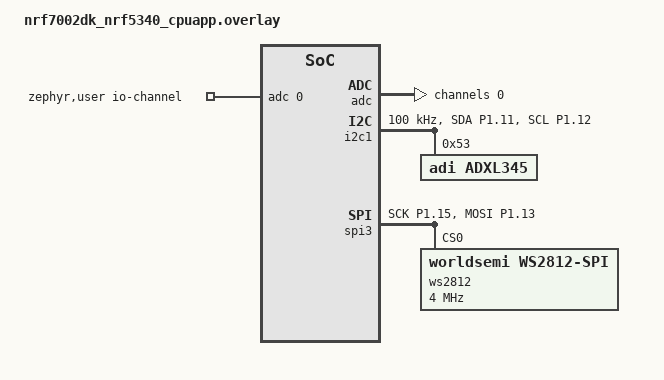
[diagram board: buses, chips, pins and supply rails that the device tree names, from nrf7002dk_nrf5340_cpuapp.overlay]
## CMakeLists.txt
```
cmake_minimum_required(VERSION 3.20.0)
list(APPEND ZEPHYR_EXTRA_MODULES
    ${CMAKE_CURRENT_SOURCE_DIR}/modules/edge-impulse-sdk-zephyr
    ${CMAKE_CURRENT_SOURCE_DIR}/edge_impulse
)
find_package(Zephyr REQUIRED HINTS $ENV{ZEPHYR_BASE})

project(test)

target_sources(app PRIVATE
	src/main.c
	src/led.c
	src/led_strip.c
	src/ble_led.c
	src/battery.c
	src/motion.c
	src/activity_indicator.c
	src/telemetry.c
	src/wifi_sta.c
	src/http_post.c
	src/ei_wrapper.cpp
)

zephyr_include_directories(src)

# Certyfikaty CA (bundle: Google Trust Services Root R4 + ISRG Root X1) —
# zagniezdzone do firmware jako tablica bajtow, rejestrowane w tls_credential
# przed pierwszym POST-em HTTPS.
generate_inc_file_for_target(app
    src/certs/ca_bundle.pem
    ${ZEPHYR_BINARY_DIR}/include/generated/ca_bundle.pem.inc)

# Edge Impulse SDK: kod trzeciej strony, nie chcemy żeby jego ostrzeżenia
# (double-promotion, maybe-uninitialized itd.) wywalały nasz build.
if(TARGET edge-impulse-sdk)
    target_compile_options(edge-impulse-sdk PRIVATE -w)
endif()
```

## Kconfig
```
#
# App Kconfig
#

source "Kconfig.zephyr"

menu "App settings"

config APP_WIFI_SSID
	string "WiFi SSID"
	default "SLUMSY"

config APP_WIFI_PSK
	string "WiFi password (WPA2-PSK)"
	default "ujnakolana"

config APP_SERVER_HOST
	string "HTTPS server hostname (or IPv4)"
	default "virgin-classifieds-wheel-hey.trycloudflare.com"
	help
	  Hostname (FQDN) or IPv4 address of the Mjolnir ingest server.
	  When a hostname is used, mbedtls SNI + cert validation uses it.

config APP_SERVER_PORT
	int "HTTPS server port"
	default 443

config APP_SERVER_URL_PATH
	string "Ingest URL path"
	default "/api/mjolnir/ingest"

config APP_MJOLNIR_API_KEY
	string "Factory-burned Mjolnir API key"
	default "mjlnr_b042769922b73b6e1f6674154a3d340de336b1e229e6075c"
	help
	  Sent as X-Mjolnir-Key header. Identifies the specific hammer row
	  on the server; user pairs by serial, never by key.

config APP_DEVICE_ID
	string "Device chip id (echoed in request body)"
	default "nrf7002dk"

config APP_POST_INTERVAL_S
	int "POST interval (seconds)"
	default 5

config APP_BLE_TARGET_MAC
	string "BLE target peripheral MAC (xx:xx:xx:xx:xx:xx)"
	default "c7:f1:ec:f8:d0:b6"
	help
	  Adres MAC peryferalu BLE z ktorym ma sie laczyc nasza centrala.
	  Pusty string = nie probuj sie laczyc (BLE wylaczone w runtime).
	  Format: AA:BB:CC:DD:EE:FF (case-insensitive).

config APP_BLE_TARGET_MAC_TYPE
	string "BLE target address type (public|random)"
	default "random"
	help
	  Wiekszosc consumer-grade urzadzen BLE uzywa adresow random.

endmenu
```

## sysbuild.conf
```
#
# Sysbuild: nRF7002 WiFi firmware (full) + BLE controller on netcore (hci_ipc)
#

SB_CONFIG_WIFI_NRF70=y

# nRF5340 ma osobny netcore — buduj na nim controller BLE (hci_ipc),
# żeby cpuapp mógł rozmawiać po IPC z hostem BT.
SB_CONFIG_NETCORE_HCI_IPC=y
```

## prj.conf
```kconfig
#
# WiFi STA + HTTP client
#

# WiFi
CONFIG_WIFI=y
CONFIG_WIFI_NRF70=y
CONFIG_WIFI_NM_WPA_SUPPLICANT=y
CONFIG_NET_L2_WIFI_MGMT=y

# Networking
CONFIG_NETWORKING=y
CONFIG_NET_L2_ETHERNET=y
CONFIG_NET_IPV4=y
CONFIG_NET_TCP=y
CONFIG_NET_UDP=y
CONFIG_NET_DHCPV4=y
CONFIG_NET_SOCKETS=y
CONFIG_NET_SOCKETS_SOCKOPT_TLS=y
CONFIG_DNS_RESOLVER=y
CONFIG_NET_SOCKETS_DNS_TIMEOUT=10000

# TLS (Mjolnir Ingest API pod HTTPS)
CONFIG_MBEDTLS=y
CONFIG_MBEDTLS_BUILTIN=y
CONFIG_MBEDTLS_ENABLE_HEAP=y
CONFIG_MBEDTLS_HEAP_SIZE=90000
CONFIG_MBEDTLS_SSL_MAX_CONTENT_LEN=16384
CONFIG_MBEDTLS_TLS_VERSION_1_2=y
CONFIG_MBEDTLS_KEY_EXCHANGE_ALL_ENABLED=y
CONFIG_MBEDTLS_CIPHER_ALL_ENABLED=y
CONFIG_MBEDTLS_MAC_ALL_ENABLED=y
CONFIG_MBEDTLS_ECP_ALL_ENABLED=y
CONFIG_MBEDTLS_PEM_CERTIFICATE_FORMAT=y
CONFIG_MBEDTLS_X509_LIBRARY=y
CONFIG_TLS_CREDENTIALS=y
CONFIG_TLS_MAX_CREDENTIALS_NUMBER=4
CONFIG_TLS_CREDENTIAL_FILENAMES=n

# HTTP client
CONFIG_HTTP_CLIENT=y
CONFIG_HTTP_PARSER=y
CONFIG_HTTP_PARSER_URL=y

# Net buffers / heaps (from NCS sta sample)
CONFIG_NET_PKT_RX_COUNT=16
CONFIG_NET_PKT_TX_COUNT=16
CONFIG_NRF70_RX_NUM_BUFS=16
CONFIG_NET_BUF_RX_COUNT=16
CONFIG_NET_BUF_TX_COUNT=32
CONFIG_HEAP_MEM_POOL_SIZE=65536
CONFIG_HEAP_MEM_POOL_IGNORE_MIN=y
CONFIG_NRF_WIFI_CTRL_HEAP_SIZE=20000
CONFIG_NRF_WIFI_DATA_HEAP_SIZE=40000
CONFIG_NRF_WIFI_DISPLAY_SCAN_BSS_LIMIT=160
CONFIG_NET_TC_TX_COUNT=1

CONFIG_NET_IF_UNICAST_IPV4_ADDR_COUNT=1
CONFIG_NET_MAX_CONTEXTS=5
CONFIG_NET_CONTEXT_SYNC_RECV=y
CONFIG_NET_SOCKETS_POLL_MAX=10

CONFIG_NET_CONFIG_SETTINGS=y
CONFIG_NET_CONFIG_INIT_TIMEOUT=0

# Stacks
CONFIG_MAIN_STACK_SIZE=8192
CONFIG_NET_TX_STACK_SIZE=4096
CONFIG_NET_RX_STACK_SIZE=4096
CONFIG_INIT_STACKS=y

CONFIG_NET_MGMT_EVENT_QUEUE_TIMEOUT=5000

# GPIO (LED blink)
CONFIG_GPIO=y

# ADC (VDD measurement)
CONFIG_ADC=y

# I2C + ADXL345
CONFIG_I2C=y
CONFIG_SENSOR=y
CONFIG_ADXL345=y

# SPI + WS2812 LED strip
CONFIG_SPI=y
CONFIG_LED_STRIP=y
CONFIG_WS2812_STRIP_SPI=y

# Bluetooth (central: scan, connect to APP_BLE_TARGET_MAC, write 6B on activity change)
CONFIG_BT=y
CONFIG_BT_CENTRAL=y
CONFIG_BT_OBSERVER=y
CONFIG_BT_GATT_CLIENT=y
CONFIG_BT_DEVICE_NAME="HackLED"
CONFIG_BT_MAX_CONN=1

# Entropy (WPA supplicant + BLE need RNG)
CONFIG_ENTROPY_GENERATOR=y

# Server (Mjolnir Ingest API – HTTPS)
CONFIG_APP_SERVER_HOST="virgin-classifieds-wheel-hey.trycloudflare.com"
CONFIG_APP_SERVER_PORT=443
CONFIG_APP_SERVER_URL_PATH="/api/mjolnir/ingest"
CONFIG_APP_DEVICE_ID="nrf7002dk"
CONFIG_APP_MJOLNIR_API_KEY="mjlnr_b042769922b73b6e1f6674154a3d340de336b1e229e6075c"

# Logging
CONFIG_LOG=y
CONFIG_LOG_BUFFER_SIZE=2048
CONFIG_PRINTK=y
CONFIG_POSIX_TIMERS=y

# Debug
CONFIG_ASSERT=y
CONFIG_STACK_SENTINEL=y

CONFIG_CPP=y
CONFIG_STD_CPP17=y
CONFIG_REQUIRES_FULL_LIBCPP=y
CONFIG_NEWLIB_LIBC=y
CONFIG_FPU=y

# Edge Impulse SDK
CONFIG_EDGE_IMPULSE_SDK=y
```

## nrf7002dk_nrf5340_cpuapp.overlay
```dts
#include <zephyr/dt-bindings/adc/adc.h>
#include <zephyr/dt-bindings/adc/nrf-saadc.h>
#include <dt-bindings/led/led.h>

/ {
	aliases {
		accel0    = &adxl345;
		led-strip = &ws2812;
	};

	zephyr,user {
		io-channels = <&adc 0>;
	};
};

&adc {
	status = "okay";
	#address-cells = <1>;
	#size-cells = <0>;

	channel@0 {
		reg = <0>;
		zephyr,gain = "ADC_GAIN_1_6";
		zephyr,reference = "ADC_REF_INTERNAL";
		zephyr,acquisition-time = <ADC_ACQ_TIME(ADC_ACQ_TIME_MICROSECONDS, 10)>;
		zephyr,input-positive = <NRF_SAADC_AIN0>;
		zephyr,resolution = <12>;
	};
};

&pinctrl {
	i2c1_default: i2c1_default {
		group1 {
			psels = <NRF_PSEL(TWIM_SDA, 1, 11)>,
					<NRF_PSEL(TWIM_SCL, 1, 12)>;
		};
	};
	i2c1_sleep: i2c1_sleep {
		group1 {
			psels = <NRF_PSEL(TWIM_SDA, 1, 11)>,
					<NRF_PSEL(TWIM_SCL, 1, 12)>;
			low-power-enable;
		};
	};

	spi3_ws2812_default: spi3_ws2812_default {
		group1 {
			psels = <NRF_PSEL(SPIM_SCK, 1, 15)>,
					<NRF_PSEL(SPIM_MOSI, 1, 13)>;
		};
	};
	spi3_ws2812_sleep: spi3_ws2812_sleep {
		group1 {
			psels = <NRF_PSEL(SPIM_SCK, 1, 15)>,
					<NRF_PSEL(SPIM_MOSI, 1, 13)>;
			low-power-enable;
		};
	};
};

&i2c1 {
	compatible = "nordic,nrf-twim";
	status = "okay";
	pinctrl-0 = <&i2c1_default>;
	pinctrl-1 = <&i2c1_sleep>;
	pinctrl-names = "default", "sleep";
	clock-frequency = <I2C_BITRATE_STANDARD>;

	adxl345: adxl345@53 {
		compatible = "adi,adxl345";
		reg = <0x53>;
	};
};

/*
 * SPI3 jest na boardzie spiety z Arduino headers.
 * Dla ws2812-spi zostawiamy MOSI (D11=P1.13) i SCK (D13=P1.15),
										 * bez MISO i bez CS.
										 */
										&spi3 {
											status = "okay";
	pinctrl-0 = <&spi3_ws2812_default>;
	pinctrl-1 = <&spi3_ws2812_sleep>;
	pinctrl-names = "default", "sleep";
	/delete-property/ cs-gpios;

	ws2812: ws2812@0 {
		compatible = "worldsemi,ws2812-spi";
		reg = <0>;
		/* Nordic-recommended WS2812 timings @ 4 MHz (samples/drivers/led/led_strip/nrf52-bindings.h) */
		spi-max-frequency = <4000000>;
		chain-length = <8>;
		color-mapping = <LED_COLOR_ID_GREEN
		LED_COLOR_ID_RED
		LED_COLOR_ID_BLUE>;
		spi-one-frame = <0x70>;
		spi-zero-frame = <0x40>;
		reset-delay = <250>;
	};
};
```

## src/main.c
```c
/*
 * Orchestration: LED strip + BLE GATT (LED control) + WiFi STA +
 * akcelerometr ADXL345 + HTTP POST telemetrii.
 * Logika w modulach: led_strip, ble_led, wifi_sta, battery, motion,
 * telemetry, http_post, led (blink).
 */

#include <zephyr/kernel.h>
#include <zephyr/logging/log.h>

#include "led_strip.h"
#include "ble_led.h"
#include "wifi_sta.h"
#include "battery.h"
#include "motion.h"
#include "activity_indicator.h"
#include "telemetry.h"
#include "http_post.h"

LOG_MODULE_REGISTER(app, LOG_LEVEL_INF);

int main(void)
{
	k_sleep(K_SECONDS(1));
	LOG_INF("Booting on %s @ %d MHz", CONFIG_BOARD, SystemCoreClock / MHZ(1));

	(void)led_strip_module_init();
	(void)ble_led_start();
	activity_indicator_start();

	if (motion_init() == 0)
	{
		(void)motion_calibrate();
		if (motion_start_sampling() != 0)
		{
			LOG_WRN("motion sampler start failed");
		}
	}
	else
	{
		LOG_WRN("motion_init failed, activity uses simulation only");
	}

	wifi_sta_start();
	if (wifi_sta_wait_ready(30) != 0)
	{
		return -ETIMEDOUT;
	}

	(void)battery_init();

	if (http_post_init_tls() != 0)
	{
		LOG_ERR("TLS init failed; POST will fail until recovered");
	}

	LOG_INF("Posting to https://%s:%d%s every %d s",
			CONFIG_APP_SERVER_HOST, CONFIG_APP_SERVER_PORT,
			CONFIG_APP_SERVER_URL_PATH, CONFIG_APP_POST_INTERVAL_S);

	uint32_t counter = 0;
	while (1)
	{
		struct telemetry t;
		telemetry_collect(&t, counter);

		if (http_post_telemetry(&t) == 0)
		{
			LOG_INF("POST counter=%u OK", counter);
		}
		counter++;
		k_sleep(K_SECONDS(CONFIG_APP_POST_INTERVAL_S));
	}
}
```

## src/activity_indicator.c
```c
#include "activity_indicator.h"
#include "motion.h"
#include "led_strip.h"
#include "ble_led.h"
#include "ei_wrapper.h"
#include "model-parameters/model_metadata.h"

#include <zephyr/kernel.h>
#include <zephyr/logging/log.h>

LOG_MODULE_REGISTER(activity_ind, LOG_LEVEL_INF);

#define STACK_SIZE 4096
#define PRIORITY 7
#define CONFIDENCE_THRESHOLD 0.6f
#define ANOMALY_THRESHOLD 0.5f
#define WINDOW_TIMEOUT_MS 1000

#define WINDOW_N EI_CLASSIFIER_RAW_SAMPLE_COUNT
#define FEATURES_N EI_CLASSIFIER_DSP_INPUT_FRAME_SIZE

/* 'a'..'f' zgodnie z kolejnoscia z model_variables.h:
 * 0 front, 1 random, 2 rotation, 3 sides, 4 smash, 5 up */
static volatile char last_model_label = '-';
static volatile enum activity last_activity = ACTIVITY_UNKNOWN;
static volatile uint8_t last_confidence_pct = 0;
static float features[FEATURES_N];

static const enum activity label_idx_to_activity[] = {
	[0] = ACTIVITY_FRONT,	 // EI idx 0: front
	[1] = ACTIVITY_UNKNOWN,	 // EI idx 1: random -> brak mapowania
	[2] = ACTIVITY_ROTATION, // EI idx 2: rotation
	[3] = ACTIVITY_SIDES,	 // EI idx 3: sides
	[4] = ACTIVITY_SMASH,	 // EI idx 4: smash
	[5] = ACTIVITY_UP,		 // EI idx 5: up
};

static void model_color(char label, uint8_t *r, uint8_t *g, uint8_t *b)
{
	switch (label)
	{
	case 'a':
		*r = 0;
		*g = 0;
		*b = 32;
		break; /* front    */
	case 'b':
		*r = 0;
		*g = 0;
		*b = 0;
		break; /* random   */
	case 'c':
		*r = 32;
		*g = 16;
		*b = 0;
		break; /* rotation */
	case 'd':
		*r = 32;
		*g = 0;
		*b = 0;
		break; /* sides    */
	case 'e':
		*r = 32;
		*g = 0;
		*b = 32;
		break; /* smash    */
	case 'f':
		*r = 32;
		*g = 32;
		*b = 32;
		break; /* up       */
	case 'z':
		*r = 0;
		*g = 0;
		*b = 0;
		break; /* anomaly   */
	default:
		*r = 0;
		*g = 0;
		*b = 0;
		break;
	}
}

static void on_model_change(char label, float score, float anomaly,
							const struct motion_sample *sample)
{
	if (label == last_model_label)
	{
		return; /* bez zmian — nie spamuj BLE/LED */
	}
	last_model_label = label;

	uint8_t red, green, blue;
	model_color(label, &red, &green, &blue);
	led_strip_set_all(red, green, blue);

	uint8_t payload[3] = {red, green, blue};
	int err = ble_led_send(payload, sizeof(payload));

	if (sample != NULL)
	{
		LOG_INF("Label=%c score=%.2f anomaly=%.2f RGB=(%u,%u,%u) accel=(%d,%d,%d) ble=%d",
				label, (double)score, (double)anomaly, red, green, blue,
				sample->x, sample->y, sample->z, err);
	}
	else
	{
		LOG_INF("Label=%c score=%.2f anomaly=%.2f RGB=(%u,%u,%u) ble=%d",
				label, (double)score, (double)anomaly, red, green, blue, err);
	}
}

static int collect_window(void)
{
	for (int i = 0; i < WINDOW_N; i++)
	{
		struct motion_sample s;
		if (motion_wait_latest(&s, WINDOW_TIMEOUT_MS) != 0)
		{
			return -1;
		}
		/* UWAGA: jednostki muszą być zgodne z treningiem w EI Studio.
		 * Jeśli "Accelerometer (m/s^2)" — mnożnik 0.00981 (mg -> m/s^2).
		 * Jeśli "g"    — 0.001.
		 * Jeśli "mg"   — 1.0. */
		features[i * 3 + 0] = (float)s.x * 0.00981f;
		features[i * 3 + 1] = (float)s.y * 0.00981f;
		features[i * 3 + 2] = (float)s.z * 0.00981f;
	}
	return 0;
}

static void thread_fn(void *a, void *b, void *c)
{
	ARG_UNUSED(a);
	ARG_UNUSED(b);
	ARG_UNUSED(c);

	while (1)
	{
		if (collect_window() != 0)
		{
			LOG_WRN("Window collect timeout");
			k_sleep(K_MSEC(200));
			continue;
		}

		int label_idx = -1;
		float score = 0.0f, anomaly = 0.0f;
		int r = ei_classify(features, FEATURES_N, &label_idx, &score, &anomaly);
		if (r != 0)
		{
			LOG_WRN("ei_classify err=%d", r);
			continue;
		}

		last_activity = (anomaly > ANOMALY_THRESHOLD)
							? ACTIVITY_UNKNOWN
							: label_idx_to_activity[label_idx];

		{
			float s = score < 0.0f ? 0.0f : (score > 1.0f ? 1.0f : score);
			last_confidence_pct = (uint8_t)(s * 100.0f + 0.5f);
		}

		struct motion_sample s;
		const struct motion_sample *s_ptr =
			(motion_get_latest(&s) == 0) ? &s : NULL;

		char label;
		if (anomaly > ANOMALY_THRESHOLD)
		{
			label = 'z'; /* out-of-distribution */
		}
		else if (score >= CONFIDENCE_THRESHOLD &&
				 label_idx >= 0 && label_idx < EI_CLASSIFIER_LABEL_COUNT)
		{
			label = (char)('a' + label_idx);
		}
		else
		{
			continue; /* niska pewność i nie-anomalia — zostaw poprzednią */
		}
		on_model_change(label, score, anomaly, s_ptr);
	}
}

K_THREAD_STACK_DEFINE(act_stack, STACK_SIZE);
static struct k_thread act_thread;

void activity_indicator_start(void)
{
	k_thread_create(&act_thread, act_stack, K_THREAD_STACK_SIZEOF(act_stack),
					thread_fn, NULL, NULL, NULL,
					PRIORITY, 0, K_NO_WAIT);
	k_thread_name_set(&act_thread, "act_ind");
}

char activity_indicator_get_model_label(void)
{
	return last_model_label;
}

enum activity activity_indicator_get_activity(void)
{
	return last_activity;
}

uint8_t activity_indicator_get_confidence(void)
{
	return last_confidence_pct;
}
```

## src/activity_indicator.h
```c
#ifndef ACTIVITY_INDICATOR_H_
#define ACTIVITY_INDICATOR_H_

#include <stdint.h>
#include "motion.h"

/*
 * Watek tla: zbiera okno probek akcelerometru, wola model Edge Impulse,
 * i na zmianie etykiety ustawia kolor LED-paska oraz wysyla 3B RGB przez BLE.
 *
 * Etykiety:
 *   'a' front, 'b' random, 'c' rotation, 'd' sides, 'e' smash, 'f' up,
 *   'z' anomalia (KNN OOD).
 */
void activity_indicator_start(void);

/* Zwraca ostatnia etykiete z modelu ('a'..'f', 'z', lub '-' jesli nic). */
char activity_indicator_get_model_label(void);

/* Zwraca ostatnia aktywnosc jako enum (dla telemetrii). */
enum activity activity_indicator_get_activity(void);

/* Zwraca ostatni score klasyfikatora 0..100 (dla telemetrii). */
uint8_t activity_indicator_get_confidence(void);

#endif /* ACTIVITY_INDICATOR_H_ */
```

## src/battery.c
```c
#include "battery.h"

#include <zephyr/kernel.h>
#include <zephyr/logging/log.h>
#include <zephyr/drivers/adc.h>
#include <errno.h>

LOG_MODULE_REGISTER(battery, LOG_LEVEL_INF);

/* Kanał ADC skonfigurowany w overlay (zephyr,user → AIN0 na P0.04). */
static const struct adc_dt_spec adc_vbat =
	ADC_DT_SPEC_GET(DT_PATH(zephyr_user));

int battery_init(void)
{
	if (!adc_is_ready_dt(&adc_vbat)) {
		LOG_ERR("ADC not ready");
		return -ENODEV;
	}
	if (adc_channel_setup_dt(&adc_vbat) < 0) {
		LOG_ERR("ADC channel setup failed");
		return -EIO;
	}
	LOG_INF("ADC ready (VBAT on AIN0)");
	return 0;
}

int battery_read_mv(int32_t *mv_out)
{
	int16_t sample_raw = 0;
	struct adc_sequence seq = {
		.buffer = &sample_raw,
		.buffer_size = sizeof(sample_raw),
	};

	int ret = adc_sequence_init_dt(&adc_vbat, &seq);
	if (ret < 0) {
		return ret;
	}

	ret = adc_read(adc_vbat.dev, &seq);
	if (ret < 0) {
		return ret;
	}

	int32_t val = sample_raw;
	ret = adc_raw_to_millivolts_dt(&adc_vbat, &val);
	if (ret < 0) {
		return ret;
	}

	/* Kalibracja: dzielnik ~1:2.47 (podmień jeśli zmienisz rezystory). */
	*mv_out = (int32_t)(val * 2.47f);
	return 0;
}
```

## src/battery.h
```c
#ifndef BATTERY_H_
#define BATTERY_H_

#include <stdint.h>

/* Przygotowuje ADC (sprawdza gotowość + konfiguruje kanał). */
int battery_init(void);

/* Odczyt napięcia baterii w mV (po przeliczeniu przez dzielnik). */
int battery_read_mv(int32_t *mv_out);

#endif /* BATTERY_H_ */
```

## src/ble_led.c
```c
#include "ble_led.h"

#include <zephyr/kernel.h>
#include <zephyr/bluetooth/bluetooth.h>
#include <zephyr/bluetooth/conn.h>
#include <zephyr/bluetooth/uuid.h>
#include <zephyr/bluetooth/gatt.h>
#include <zephyr/bluetooth/hci.h>
#include <zephyr/logging/log.h>
#include <string.h>

LOG_MODULE_REGISTER(ble_led, LOG_LEVEL_INF);

#define LED_SVC_UUID_VAL \
	BT_UUID_128_ENCODE(0x12345678, 0x1234, 0x5678, 0x1234, 0x56789abcdef0)
#define LED_CHAR_UUID_VAL \
	BT_UUID_128_ENCODE(0x12345678, 0x1234, 0x5678, 0x1234, 0x56789abcdef1)

static struct bt_uuid_128 led_svc_uuid = BT_UUID_INIT_128(LED_SVC_UUID_VAL);
static struct bt_uuid_128 led_char_uuid = BT_UUID_INIT_128(LED_CHAR_UUID_VAL);

static bt_addr_le_t target_addr;
static bool target_addr_valid;

static struct bt_conn *current_conn;
static uint16_t led_char_handle;
static struct bt_gatt_discover_params disc_params;

static bool target_configured(void)
{
	return target_addr_valid;
}

static int parse_target_mac(void)
{
	const char *mac_str = CONFIG_APP_BLE_TARGET_MAC;
	const char *type = CONFIG_APP_BLE_TARGET_MAC_TYPE;

	if (mac_str[0] == '\0')
	{
		LOG_WRN("APP_BLE_TARGET_MAC pusty - BLE zostanie wylaczone");
		return -ENODEV;
	}

	int err = bt_addr_le_from_str(mac_str, type, &target_addr);
	if (err)
	{
		LOG_ERR("Zly format MAC '%s' / typu '%s' (err %d)", mac_str, type, err);
		return err;
	}

	char s[BT_ADDR_LE_STR_LEN];
	bt_addr_le_to_str(&target_addr, s, sizeof(s));
	LOG_INF("Target BLE: %s", s);
	target_addr_valid = true;
	return 0;
}

static void scan_cb(const bt_addr_le_t *addr, int8_t rssi, uint8_t adv_type,
					struct net_buf_simple *buf);

static int start_scan(void)
{
	if (!target_configured())
	{
		return 0;
	}
	struct bt_le_scan_param sp = {
		.type = BT_LE_SCAN_TYPE_PASSIVE,
		.options = BT_LE_SCAN_OPT_NONE,
		.interval = BT_GAP_SCAN_FAST_INTERVAL,
		.window = BT_GAP_SCAN_FAST_WINDOW,
	};
	int err = bt_le_scan_start(&sp, scan_cb);
	if (err && err != -EALREADY)
	{
		LOG_ERR("scan_start: %d", err);
		return err;
	}
	LOG_INF("Skanuje...");
	return 0;
}

static uint8_t on_char_discovered(struct bt_conn *conn,
								  const struct bt_gatt_attr *attr,
								  struct bt_gatt_discover_params *params)
{
	if (!attr)
	{
		LOG_ERR("Charakterystyka LED nie znaleziona na peryferalu");
		return BT_GATT_ITER_STOP;
	}

	const struct bt_gatt_chrc *chrc = attr->user_data;
	led_char_handle = chrc->value_handle;
	LOG_INF("Charakterystyka LED znaleziona, handle=%u", led_char_handle);
	return BT_GATT_ITER_STOP;
}

static uint8_t on_svc_discovered(struct bt_conn *conn,
								 const struct bt_gatt_attr *attr,
								 struct bt_gatt_discover_params *params)
{
	if (!attr)
	{
		LOG_ERR("Serwis LED nie znaleziony na peryferalu");
		return BT_GATT_ITER_STOP;
	}

	const struct bt_gatt_service_val *svc = attr->user_data;
	LOG_INF("Serwis LED znaleziony, szukam charakterystyki...");

	memset(&disc_params, 0, sizeof(disc_params));
	disc_params.uuid = &led_char_uuid.uuid;
	disc_params.func = on_char_discovered;
	disc_params.start_handle = attr->handle + 1;
	disc_params.end_handle = svc->end_handle;
	disc_params.type = BT_GATT_DISCOVER_CHARACTERISTIC;

	int err = bt_gatt_discover(conn, &disc_params);
	if (err)
	{
		LOG_ERR("char discover: %d", err);
	}
	return BT_GATT_ITER_STOP;
}

static int discover_led_service(struct bt_conn *conn)
{
	memset(&disc_params, 0, sizeof(disc_params));
	disc_params.uuid = &led_svc_uuid.uuid;
	disc_params.func = on_svc_discovered;
	disc_params.start_handle = BT_ATT_FIRST_ATTRIBUTE_HANDLE;
	disc_params.end_handle = BT_ATT_LAST_ATTRIBUTE_HANDLE;
	disc_params.type = BT_GATT_DISCOVER_PRIMARY;
	return bt_gatt_discover(conn, &disc_params);
}

static void scan_cb(const bt_addr_le_t *addr, int8_t rssi, uint8_t adv_type,
					struct net_buf_simple *buf)
{
	ARG_UNUSED(rssi);
	ARG_UNUSED(adv_type);
	ARG_UNUSED(buf);

	if (!target_configured())
		return;
	if (current_conn != NULL)
		return;
	if (bt_addr_le_cmp(addr, &target_addr) != 0)
		return;

	int err = bt_le_scan_stop();
	if (err)
	{
		LOG_WRN("scan_stop: %d", err);
	}

	struct bt_conn *conn = NULL;
	err = bt_conn_le_create(addr, BT_CONN_LE_CREATE_CONN,
							BT_LE_CONN_PARAM_DEFAULT, &conn);
	if (err)
	{
		LOG_ERR("conn_le_create: %d", err);
		(void)start_scan();
		return;
	}
	bt_conn_unref(conn); /* connected callback dostanie wlasna ref */
}

static void on_connected(struct bt_conn *conn, uint8_t err)
{
	char s[BT_ADDR_LE_STR_LEN];
	bt_addr_le_to_str(bt_conn_get_dst(conn), s, sizeof(s));

	if (err)
	{
		LOG_ERR("Nie udalo sie polaczyc z %s (%u)", s, err);
		(void)start_scan();
		return;
	}

	LOG_INF("Polaczono z %s", s);
	current_conn = bt_conn_ref(conn);
	led_char_handle = 0;

	int derr = discover_led_service(conn);
	if (derr)
	{
		LOG_ERR("discover svc: %d", derr);
		bt_conn_disconnect(conn, BT_HCI_ERR_REMOTE_USER_TERM_CONN);
	}
}

static void on_disconnected(struct bt_conn *conn, uint8_t reason)
{
	LOG_INF("Rozlaczono (0x%02x)", reason);
	if (current_conn)
	{
		bt_conn_unref(current_conn);
		current_conn = NULL;
	}
	led_char_handle = 0;
	(void)start_scan();
}

BT_CONN_CB_DEFINE(conn_callbacks) = {
	.connected = on_connected,
	.disconnected = on_disconnected,
};

bool ble_led_is_ready(void)
{
	return current_conn != NULL && led_char_handle != 0;
}

int ble_led_send(const uint8_t *data, size_t len)
{
	if (!ble_led_is_ready())
	{
		return -ENOTCONN;
	}
	int err = bt_gatt_write_without_response(current_conn, led_char_handle,
											 data, len, false);
	if (err)
	{
		LOG_WRN("write: %d", err);
	}
	return err;
}

int ble_led_start(void)
{
	int err = bt_enable(NULL);
	if (err)
	{
		LOG_ERR("bt_enable: %d", err);
		return err;
	}

	bt_addr_le_t self;
	size_t count = 1;
	bt_id_get(&self, &count);
	char s[BT_ADDR_LE_STR_LEN];
	bt_addr_le_to_str(&self, s, sizeof(s));
	LOG_INF("BLE start. Self MAC: %s", s);

	if (parse_target_mac() != 0)
	{
		return 0; /* BT enabled but nothing to connect to */
	}

	return start_scan();
}
```

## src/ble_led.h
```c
#ifndef BLE_LED_H_
#define BLE_LED_H_

#include <stdint.h>
#include <stddef.h>
#include <stdbool.h>

/*
 * BLE central + GATT client.
 *
 * Skanuje, laczy sie z peryferalem o adresie CONFIG_APP_BLE_TARGET_MAC,
 * znajduje serwis LED i jego charakterystyke, po czym udostepnia
 * ble_led_send() do zapisu pakietow.
 *
 * UUID charakterystyki:
 *   service:        12345678-1234-5678-1234-56789abcdef0
 *   characteristic: 12345678-1234-5678-1234-56789abcdef1
 */

/* Wlacza BT i zaczyna skanowanie. 0 = OK. */
int ble_led_start(void);

/* True kiedy connection + discovery zakonczone i mozna pisac. */
bool ble_led_is_ready(void);

/* Zapis (write without response). 0 = wystartowano, <0 = blad/no link. */
int ble_led_send(const uint8_t *data, size_t len);

#endif /* BLE_LED_H_ */
```

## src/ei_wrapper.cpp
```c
#include "edge-impulse-sdk/classifier/ei_run_classifier.h"
#include "model-parameters/model_metadata.h"
#include "ei_wrapper.h"

extern "C" int ei_classify(const float *features, size_t n,
                           int *out_label, float *out_score,
                           float *out_anomaly)
{
    if (n != EI_CLASSIFIER_DSP_INPUT_FRAME_SIZE)
        return -1;

    ei::signal_t signal;
    numpy::signal_from_buffer(features, n, &signal);

    ei_impulse_result_t result = {0};
    EI_IMPULSE_ERROR r = run_classifier(&signal, &result, false);
    if (r != EI_IMPULSE_OK)
        return -2;

    int best = 0;
    float best_v = result.classification[0].value;
    for (int i = 1; i < EI_CLASSIFIER_LABEL_COUNT; i++)
    {
        if (result.classification[i].value > best_v)
        {
            best_v = result.classification[i].value;
            best = i;
        }
    }
    *out_label = best;
    *out_score = best_v;

#if EI_CLASSIFIER_HAS_ANOMALY
    *out_anomaly = result.anomaly;
#else
    *out_anomaly = 0.0f;
#endif
    return 0;
}
```

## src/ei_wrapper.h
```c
#ifndef EI_WRAPPER_H_
#define EI_WRAPPER_H_
#include <stddef.h>
#ifdef __cplusplus
extern "C"
{
#endif

    int ei_classify(const float *features, size_t n,
                    int *out_label, float *out_score,
                    float *out_anomaly);

#ifdef __cplusplus
}
#endif
#endif
```

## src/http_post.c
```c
#include "http_post.h"

#include <zephyr/kernel.h>
#include <zephyr/logging/log.h>
#include <zephyr/net/socket.h>
#include <zephyr/net/http/client.h>
#include <zephyr/net/tls_credentials.h>
#include <errno.h>
#include <string.h>
#include <stdio.h>

LOG_MODULE_REGISTER(http_post, LOG_LEVEL_INF);

#define MJOLNIR_SEC_TAG 42

/* Wygenerowane przez generate_inc_file_for_target z src/certs/ca_bundle.pem.
 * generate_inc_file_for_target nie dokleja terminatora \0 — mbedtls parser PEM
 * wymaga null-terminowanego bufora, wiec trailing 0 dodajemy recznie. */
static const unsigned char ca_bundle[] = {
#include "ca_bundle.pem.inc"
    , 0x00
};

static uint8_t recv_buf[1024];
static bool tls_ready;

static void http_response_cb(struct http_response *rsp,
							 enum http_final_call final_data, void *user_data)
{
	ARG_UNUSED(user_data);
	if (final_data == HTTP_DATA_FINAL)
	{
		LOG_INF("HTTP response: status %d, body_len=%zu",
				rsp->http_status_code, rsp->data_len);
		if (rsp->body_frag_start != NULL && rsp->body_frag_len > 0)
		{
			size_t n = rsp->body_frag_len < 256 ? rsp->body_frag_len : 256;
			LOG_INF("body: %.*s", (int)n, rsp->body_frag_start);
		}
	}
}

int http_post_init_tls(void)
{
	if (tls_ready)
	{
		return 0;
	}

	int ret = tls_credential_add(MJOLNIR_SEC_TAG,
								 TLS_CREDENTIAL_CA_CERTIFICATE,
								 ca_bundle, sizeof(ca_bundle));
	if (ret == -EEXIST)
	{
		LOG_WRN("TLS cert sec tag %d already present", MJOLNIR_SEC_TAG);
	}
	else if (ret < 0)
	{
		LOG_ERR("tls_credential_add failed: %d", ret);
		return ret;
	}

	LOG_INF("TLS CA bundle registered under sec_tag %d (%zu bytes)",
			MJOLNIR_SEC_TAG, sizeof(ca_bundle));
	tls_ready = true;
	return 0;
}

static int resolve_host(const char *host, uint16_t port, struct sockaddr_in *out)
{
	struct zsock_addrinfo hints = {
		.ai_family = AF_INET,
		.ai_socktype = SOCK_STREAM,
	};
	struct zsock_addrinfo *res = NULL;

	int ret = zsock_getaddrinfo(host, NULL, &hints, &res);
	if (ret != 0 || res == NULL)
	{
		LOG_ERR("DNS resolve %s failed: %d", host, ret);
		return -EHOSTUNREACH;
	}

	memset(out, 0, sizeof(*out));
	out->sin_family = AF_INET;
	out->sin_port = htons(port);
	out->sin_addr = ((struct sockaddr_in *)res->ai_addr)->sin_addr;
	zsock_freeaddrinfo(res);
	return 0;
}

int http_post_telemetry(const struct telemetry *t)
{
	if (!tls_ready)
	{
		int r = http_post_init_tls();
		if (r < 0)
		{
			return r;
		}
	}

	int sock = zsock_socket(AF_INET, SOCK_STREAM, IPPROTO_TLS_1_2);
	if (sock < 0)
	{
		LOG_ERR("socket(TLS) failed: %d", errno);
		return -errno;
	}

	const sec_tag_t sec_tag_list[] = {MJOLNIR_SEC_TAG};
	int verify = TLS_PEER_VERIFY_REQUIRED;

	if (zsock_setsockopt(sock, SOL_TLS, TLS_SEC_TAG_LIST,
						 sec_tag_list, sizeof(sec_tag_list)) < 0)
	{
		LOG_ERR("setsockopt TLS_SEC_TAG_LIST failed: %d", errno);
		zsock_close(sock);
		return -errno;
	}
	if (zsock_setsockopt(sock, SOL_TLS, TLS_HOSTNAME,
						 CONFIG_APP_SERVER_HOST,
						 strlen(CONFIG_APP_SERVER_HOST)) < 0)
	{
		LOG_ERR("setsockopt TLS_HOSTNAME failed: %d", errno);
		zsock_close(sock);
		return -errno;
	}
	if (zsock_setsockopt(sock, SOL_TLS, TLS_PEER_VERIFY,
						 &verify, sizeof(verify)) < 0)
	{
		LOG_ERR("setsockopt TLS_PEER_VERIFY failed: %d", errno);
		zsock_close(sock);
		return -errno;
	}

	struct sockaddr_in addr;
	if (resolve_host(CONFIG_APP_SERVER_HOST,
					 CONFIG_APP_SERVER_PORT, &addr) < 0)
	{
		zsock_close(sock);
		return -EHOSTUNREACH;
	}

	if (zsock_connect(sock, (struct sockaddr *)&addr, sizeof(addr)) < 0)
	{
		LOG_ERR("connect() to %s:%d failed: %d",
				CONFIG_APP_SERVER_HOST, CONFIG_APP_SERVER_PORT, errno);
		zsock_close(sock);
		return -errno;
	}

	char body[256];
	int body_len = telemetry_build_json(t, body, sizeof(body));
	if (body_len < 0 || body_len >= (int)sizeof(body))
	{
		LOG_ERR("telemetry_build_json: buffer too small (ret=%d)", body_len);
		zsock_close(sock);
		return -ENOMEM;
	}

	const char *headers[] = {
		"X-Mjolnir-Key: " CONFIG_APP_MJOLNIR_API_KEY "\r\n",
		"Content-Type: application/json\r\n",
		"Accept: application/json\r\n",
		NULL,
	};

	struct http_request req = {
		.method = HTTP_POST,
		.url = CONFIG_APP_SERVER_URL_PATH,
		.host = CONFIG_APP_SERVER_HOST,
		.protocol = "HTTP/1.1",
		.payload = body,
		.payload_len = body_len,
		.header_fields = headers,
		.response = http_response_cb,
		.recv_buf = recv_buf,
		.recv_buf_len = sizeof(recv_buf),
	};

	int ret = http_client_req(sock, &req, 15000, NULL);
	zsock_close(sock);

	if (ret < 0)
	{
		LOG_ERR("http_client_req failed: %d", ret);
	}
	return ret;
}
```

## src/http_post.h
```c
#ifndef HTTP_POST_H_
#define HTTP_POST_H_

#include "telemetry.h"

/*
 * Buduje JSON-a z `t` i wysyla jako POST do Mjolnir Ingest API:
 *   https://CONFIG_APP_SERVER_HOST:CONFIG_APP_SERVER_PORT
 *        CONFIG_APP_SERVER_URL_PATH  (domyslnie /api/mjolnir/ingest)
 * Uzywa HTTPS (TLS 1.2) z walidacja certu po CONFIG_APP_SERVER_HOST.
 * Dokleja header X-Mjolnir-Key z CONFIG_APP_MJOLNIR_API_KEY.
 * Zwraca 0 przy sukcesie, wartosc < 0 przy bledzie socket/DNS/HTTP.
 */
int http_post_telemetry(const struct telemetry *t);

/* Jednorazowo rejestruje certyfikat CA w TLS_CREDENTIALS. */
int http_post_init_tls(void);

#endif /* HTTP_POST_H_ */
```

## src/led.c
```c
#include <zephyr/kernel.h>
#include <zephyr/logging/log.h>
#include <zephyr/drivers/gpio.h>

LOG_MODULE_REGISTER(led, LOG_LEVEL_INF);

static const struct gpio_dt_spec led0 = GPIO_DT_SPEC_GET(DT_ALIAS(led0), gpios);

static void blink_thread(void)
{
	if (!gpio_is_ready_dt(&led0)) {
		LOG_ERR("LED0 not ready");
		return;
	}
	gpio_pin_configure_dt(&led0, GPIO_OUTPUT_INACTIVE);

	while (1) {
		gpio_pin_toggle_dt(&led0);
		k_msleep(500);
	}
}

K_THREAD_DEFINE(blink_tid, 512, blink_thread, NULL, NULL, NULL, 7, 0, 0);
```

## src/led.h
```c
#ifndef LED_H_
#define LED_H_

/*
 * Wątek migający LED0 jest uruchamiany automatycznie przez
 * K_THREAD_DEFINE w led.c — nic nie trzeba wołać z main().
 */

#endif /* LED_H_ */
```
